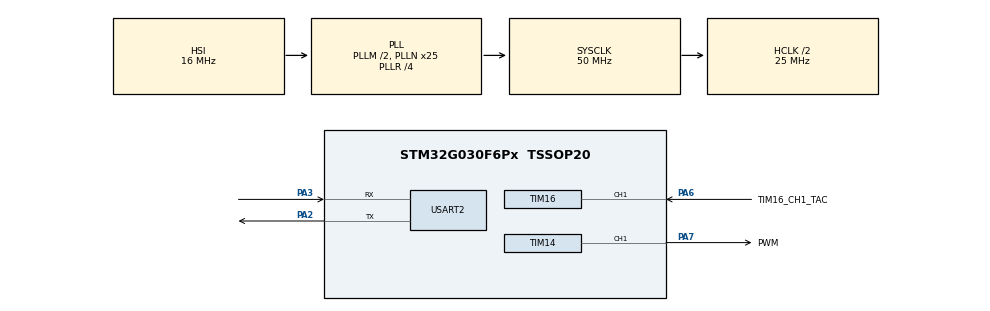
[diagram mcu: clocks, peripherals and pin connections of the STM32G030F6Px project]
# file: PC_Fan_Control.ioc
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Mcu.Family=STM32G0
Mcu.Name=STM32G030F6Px
Mcu.Package=TSSOP20
NVIC.TIM16_IRQn=true\:0\:0\:false\:false\:true\:true\:true\:true
NVIC.TIM3_IRQn=true\:0\:0\:false\:false\:true\:true\:true\:true
NVIC.USART2_IRQn=true\:0\:0\:false\:false\:true\:true\:true\:true
PA13.Mode=Serial_Wire
PA13.Signal=SYS_SWDIO
PA14-BOOT0.Mode=Serial_Wire
PA14-BOOT0.Signal=SYS_SWCLK
PA14-BOOT0__PA15.StandardMode=true
PA2.Mode=Asynchronous
PA2.Signal=USART2_TX
PA3.Mode=Asynchronous
PA3.Signal=USART2_RX
PA6.GPIO_Label=TIM16_CH1_TAC
PA6.GPIO_ModeDefaultPP=GPIO_MODE_AF_OD
PA6.Signal=S_TIM16_CH1
PA7.GPIO_Label=PWM
PA7.GPIO_ModeDefaultPP=GPIO_MODE_AF_OD
PA7.Signal=S_TIM14_CH1
PB0.GPIO_Label=Encoder
PB0.Signal=S_TIM3_CH3
PB0__PB1__PB2__PA8.StandardMode=true
PB3__PB4__PB5__PB6.StandardMode=true
PB5.GPIO_Label=Encoder
PB5.GPIO_ModeDefaultPP=GPIO_MODE_AF_PP
PB5.Signal=S_TIM3_CH2
PB7__PB8.StandardMode=true
PC14-OSC32_IN\ (PC14)__PB9.StandardMode=true
ProjectManager.HeapSize=0x200
ProjectManager.StackSize=0x400
ProjectManager.TargetToolchain=STM32CubeIDE
RCC.ADCFreq_Value=50000000
RCC.AHBCLKDivider=RCC_SYSCLK_DIV2
RCC.AHBFreq_Value=25000000
RCC.CortexFreq_Value=25000000
RCC.EXTERNAL_CLOCK_VALUE=12288000
RCC.HCLKFreq_Value=25000000
RCC.HSE_VALUE=8000000
RCC.HSI_VALUE=16000000
RCC.LSE_VALUE=32768
RCC.PLLM=RCC_PLLM_DIV2
RCC.PLLN=25
RCC.PLLR=RCC_PLLR_DIV4
RCC.SYSCLKFreq_VALUE=50000000
RCC.SYSCLKSource=RCC_SYSCLKSOURCE_PLLCLK
RCC.VCOOutputFreq_Value=200000000
SH.S_TIM14_CH1.0=TIM14_CH1,PWM Generation1 CH1
SH.S_TIM16_CH1.0=TIM16_CH1,Input_Capture1_from_TI1
SH.S_TIM3_CH2.0=TIM3_CH2
SH.S_TIM3_CH3.0=TIM3_CH3
TIM14.Channel=TIM_CHANNEL_1
TIM14.Period=1000
TIM14.Pulse=1000
TIM16.Channel=TIM_CHANNEL_1
TIM16.Prescaler=2500-1
TIM3.Period=2500
USART2.VirtualMode-Asynchronous=VM_ASYNC
VP_TIM14_VS_ClockSourceINT.Mode=Enable_Timer
VP_TIM16_VS_ClockSourceINT.Mode=Enable_Timer
VP_TIM3_VS_ClockSourceINT.Mode=Internal
board=custom

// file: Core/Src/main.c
/* USER CODE BEGIN Header */
/**
 ******************************************************************************
 * @file           : main.c
 * @brief          : Main program body
 ******************************************************************************
 * @attention
 *
 * Copyright (c) 2024 STMicroelectronics.
 * All rights reserved.
 *
 * This software is licensed under terms that can be found in the LICENSE file
 * in the root directory of this software component.
 * If no LICENSE file comes with this software, it is provided AS-IS.
 *
 ******************************************************************************
 */
/* USER CODE END Header */
#include "main.h"

/* USER CODE BEGIN Includes */
#include <stdbool.h>
#include <stdio.h>
#include <string.h>
/* USER CODE END Includes */

/* USER CODE BEGIN PM */

#define PWM_INCREMENT				(10)
#define PWM_MAX_DUTY_CYCLE			(1000)
#define PRINT_RPM_INTERVAL			(200)			// ms
#define MAX_DEBOUNCING_COUNTER		(10)			// 0.1 ms x 10 = 1 ms
#define MIN_DEBOUNCING_COUNTER		(0)

#define DEBOUNCING_SET_BIT_MASK		(0x200)
#define DEBOUNCING_MASK				(0x3FF)
#define DEBOUNCING_TOTAL			(10)
#define DEBOUNCING_THRESHOLD		(8)
/* USER CODE END PM */

TIM_HandleTypeDef htim3;
TIM_HandleTypeDef htim14;
TIM_HandleTypeDef htim16;

UART_HandleTypeDef huart2;

/* USER CODE BEGIN PV */

volatile GPIO_PinState pb0Old = GPIO_PIN_RESET;
volatile GPIO_PinState pb5Old = GPIO_PIN_RESET;

uint32_t pb0History = 0;
uint32_t pb5History = 0;

volatile int32_t dutyCycle = 1000;

volatile bool captured = false;
volatile uint32_t lastCaptureValue = 0;
volatile uint32_t captureValue = 0;

volatile int64_t timeStamp;
int64_t lastPrintTime = 0;

/* USER CODE END PV */

void SystemClock_Config(void);
static void MX_GPIO_Init(void);
static void MX_TIM3_Init(void);
static void MX_TIM14_Init(void);
static void MX_TIM16_Init(void);
static void MX_USART2_UART_Init(void);
/* USER CODE BEGIN PFP */

void UpdateSpeed(GPIO_PinState aLast, GPIO_PinState bLast, GPIO_PinState aNew, GPIO_PinState bNew);

/* USER CODE END PFP */

/* USER CODE BEGIN 0 */
int __io_putchar(int ch)
{
	HAL_UART_Transmit(&huart2, (uint8_t*) &ch, 1, 0xFFFF);
	return ch;
}

void HAL_TIM_IC_CaptureCallback(TIM_HandleTypeDef *htim)
{
	if (htim == &htim16)
	{
		lastCaptureValue = captureValue;
		captureValue = htim16.Instance->CCR1;
		captured = true;
	}
}

uint32_t UpdatePinHistory(uint32_t history, GPIO_PinState newState)
{
	history >>= 1;
	if(newState == GPIO_PIN_RESET)
	{
		history |= DEBOUNCING_SET_BIT_MASK;
	}
	else
	{
		history &= (~DEBOUNCING_SET_BIT_MASK);
	}

	history &= DEBOUNCING_MASK;

	return history;
}

GPIO_PinState CheckStateChange(GPIO_PinState currentState, uint32_t history)
{
	GPIO_PinState newState;

	if(currentState == GPIO_PIN_RESET)
	{
		if(__builtin_popcount(history) >= DEBOUNCING_THRESHOLD)
		{
			newState = GPIO_PIN_SET;
		}

	}
	else
	{
		if(__builtin_popcount(history) <= (DEBOUNCING_TOTAL - DEBOUNCING_THRESHOLD))
		{
			newState = GPIO_PIN_RESET;
		}
	}

	return newState;
}

void HAL_TIM_PeriodElapsedCallback(TIM_HandleTypeDef *htim)
{
	if (htim == &htim3)
	{
		GPIO_PinState pb0Current = HAL_GPIO_ReadPin(GPIOB, GPIO_PIN_0);
		GPIO_PinState pb5Current = HAL_GPIO_ReadPin(GPIOB, GPIO_PIN_5);

		pb0History = UpdatePinHistory(pb0History, pb0Current);
		pb5History = UpdatePinHistory(pb5History, pb5Current);

		GPIO_PinState pb0New = CheckStateChange(pb0Current, pb0History);
		GPIO_PinState pb5New = CheckStateChange(pb5Current, pb5History);;

		if(pb0Old != pb0New || pb5Old != pb5New)
		{
			UpdateSpeed(pb0Old, pb5Old, pb0New, pb5New);

			pb0Old = pb0New;
			pb5Old = pb5New;
		}
	}
}

void UpdateSpeed(GPIO_PinState aLast, GPIO_PinState bLast, GPIO_PinState aNew, GPIO_PinState bNew)
{
	int32_t direction = 0;

	if (aLast == GPIO_PIN_RESET) // 0
	{
		if (bLast == GPIO_PIN_RESET) // 0
		{
			if (aNew == GPIO_PIN_RESET) // 0
			{
				if (bNew == GPIO_PIN_RESET)
				{
				}
				else // 1
				{
					direction = -1; // 0 0 0 1
				}
			}
			else // 1
			{
				if (bNew == GPIO_PIN_RESET) // 0
				{
					direction = 1; // 0 0 1 0
				}
				else
				{
				}
			}
		}
		else // 1
		{
			if (aNew == GPIO_PIN_RESET) // 0
			{
				if (bNew == GPIO_PIN_RESET) // 0
				{
					direction = 1; // 0 1 0 0
				}
				else
				{
				}
			}
			else
			{
				if (bNew == GPIO_PIN_RESET)
				{
				}
				else
				{
					direction = -1; // 0 1 1 1
				}
			}
		}
	}
	else // 1
	{
		if (bLast == GPIO_PIN_RESET) // 0
		{
			if (aNew == GPIO_PIN_RESET) // 0
			{
				if (bNew == GPIO_PIN_RESET)
				{
					direction = -1; // 1 0 0 0
				}
				else
				{
				}
			}
			else // 1
			{
				if (bNew == GPIO_PIN_RESET) // 0
				{
				}
				else
				{
					direction = 1; // 1 0 1 1
				}
			}
		}
		else // 1
		{
			if (aNew == GPIO_PIN_RESET) // 0
			{
				if (bNew == GPIO_PIN_RESET) // 0
				{
				}
				else
				{
					direction = 1; // 1 1 0 1
				}
			}
			else
			{
				if (bNew == GPIO_PIN_RESET)
				{
					direction = -1; // 1 1 1 0
				}
				else
				{
				}
			}
		}
	}

	if (direction > 0)
	{
		dutyCycle += PWM_INCREMENT;
		if (dutyCycle > PWM_MAX_DUTY_CYCLE)
		{
			dutyCycle = PWM_MAX_DUTY_CYCLE;
		}

		htim14.Instance->CCR1 = dutyCycle;
	}
	else if (direction < 0)
	{
		dutyCycle -= PWM_INCREMENT;
		if (dutyCycle < 0)
		{
			dutyCycle = 0;
		}

		htim14.Instance->CCR1 = dutyCycle;
	}
}

/* USER CODE END 0 */

int main(void)
{

  /* MCU Configuration--------------------------------------------------------*/

  /* Reset of all peripherals, Initializes the Flash interface and the Systick. */
  HAL_Init();

  /* Configure the system clock */
  SystemClock_Config();

  /* Initialize all configured peripherals */
  MX_GPIO_Init();
  MX_TIM3_Init();
  MX_TIM14_Init();
  MX_TIM16_Init();
  MX_USART2_UART_Init();
  /* USER CODE BEGIN 2 */

	pb0Old = HAL_GPIO_ReadPin(GPIOB, GPIO_PIN_0);
	pb5Old = HAL_GPIO_ReadPin(GPIOB, GPIO_PIN_5);

	if(pb0Old == GPIO_PIN_SET)
	{
		pb0History = DEBOUNCING_MASK;
	}

	if(pb5Old == GPIO_PIN_SET)
	{
		pb5History = DEBOUNCING_MASK;
	}

	HAL_TIM_PWM_Start(&htim14, TIM_CHANNEL_1); // Fan PWM
	HAL_TIM_IC_Start_IT(&htim16, TIM_CHANNEL_1); // Tachometer PA6
	HAL_TIM_Base_Start_IT(&htim3); // Encoder PB0, PB5

  /* USER CODE END 2 */

  /* Infinite loop */
  /* USER CODE BEGIN WHILE */
	while (1)
	{
		if (captured)
		{
			captured = false;

			if (timeStamp - lastPrintTime > PRINT_RPM_INTERVAL)
			{
				lastPrintTime = timeStamp;

				int32_t diff = (int32_t)captureValue - (int32_t)lastCaptureValue;
				if (diff < 0)
				{
					diff += 65536;
				}

				int32_t rpm = (60 / 2 * 10000) / diff;

				printf("RPM: %ld, dutyCycle: %ld\r\n", rpm, dutyCycle);
			}
		}
    /* USER CODE END WHILE */

	}
}

void SystemClock_Config(void)
{
  RCC_OscInitTypeDef RCC_OscInitStruct = {0};
  RCC_ClkInitTypeDef RCC_ClkInitStruct = {0};

  /** Configure the main internal regulator output voltage
  */
  HAL_PWREx_ControlVoltageScaling(PWR_REGULATOR_VOLTAGE_SCALE1);

  /** Initializes the RCC Oscillators according to the specified parameters
  * in the RCC_OscInitTypeDef structure.
  */
  RCC_OscInitStruct.OscillatorType = RCC_OSCILLATORTYPE_HSI;
  RCC_OscInitStruct.HSIState = RCC_HSI_ON;
  RCC_OscInitStruct.HSIDiv = RCC_HSI_DIV1;
  RCC_OscInitStruct.HSICalibrationValue = RCC_HSICALIBRATION_DEFAULT;
  RCC_OscInitStruct.PLL.PLLState = RCC_PLL_ON;
  RCC_OscInitStruct.PLL.PLLSource = RCC_PLLSOURCE_HSI;
  RCC_OscInitStruct.PLL.PLLM = RCC_PLLM_DIV2;
  RCC_OscInitStruct.PLL.PLLN = 25;
  RCC_OscInitStruct.PLL.PLLP = RCC_PLLP_DIV2;
  RCC_OscInitStruct.PLL.PLLR = RCC_PLLR_DIV4;
  if (HAL_RCC_OscConfig(&RCC_OscInitStruct) != HAL_OK)
  {
    Error_Handler();
  }

  /** Initializes the CPU, AHB and APB buses clocks
  */
  RCC_ClkInitStruct.ClockType = RCC_CLOCKTYPE_HCLK|RCC_CLOCKTYPE_SYSCLK
                              |RCC_CLOCKTYPE_PCLK1;
  RCC_ClkInitStruct.SYSCLKSource = RCC_SYSCLKSOURCE_PLLCLK;
  RCC_ClkInitStruct.AHBCLKDivider = RCC_SYSCLK_DIV2;
  RCC_ClkInitStruct.APB1CLKDivider = RCC_HCLK_DIV1;

  if (HAL_RCC_ClockConfig(&RCC_ClkInitStruct, FLASH_LATENCY_1) != HAL_OK)
  {
    Error_Handler();
  }
}

static void MX_TIM3_Init(void)
{

  TIM_ClockConfigTypeDef sClockSourceConfig = {0};
  TIM_MasterConfigTypeDef sMasterConfig = {0};

  htim3.Instance = TIM3;
  htim3.Init.Prescaler = 0;
  htim3.Init.CounterMode = TIM_COUNTERMODE_UP;
  htim3.Init.Period = 2500;
  htim3.Init.ClockDivision = TIM_CLOCKDIVISION_DIV1;
  htim3.Init.AutoReloadPreload = TIM_AUTORELOAD_PRELOAD_DISABLE;
  if (HAL_TIM_Base_Init(&htim3) != HAL_OK)
  {
    Error_Handler();
  }
  sClockSourceConfig.ClockSource = TIM_CLOCKSOURCE_INTERNAL;
  if (HAL_TIM_ConfigClockSource(&htim3, &sClockSourceConfig) != HAL_OK)
  {
    Error_Handler();
  }
  sMasterConfig.MasterOutputTrigger = TIM_TRGO_RESET;
  sMasterConfig.MasterSlaveMode = TIM_MASTERSLAVEMODE_DISABLE;
  if (HAL_TIMEx_MasterConfigSynchronization(&htim3, &sMasterConfig) != HAL_OK)
  {
    Error_Handler();
  }

}

static void MX_TIM14_Init(void)
{

  TIM_OC_InitTypeDef sConfigOC = {0};

  htim14.Instance = TIM14;
  htim14.Init.Prescaler = 0;
  htim14.Init.CounterMode = TIM_COUNTERMODE_UP;
  htim14.Init.Period = 1000;
  htim14.Init.ClockDivision = TIM_CLOCKDIVISION_DIV1;
  htim14.Init.AutoReloadPreload = TIM_AUTORELOAD_PRELOAD_DISABLE;
  if (HAL_TIM_Base_Init(&htim14) != HAL_OK)
  {
    Error_Handler();
  }
  if (HAL_TIM_PWM_Init(&htim14) != HAL_OK)
  {
    Error_Handler();
  }
  sConfigOC.OCMode = TIM_OCMODE_PWM1;
  sConfigOC.Pulse = 1000;
  sConfigOC.OCPolarity = TIM_OCPOLARITY_HIGH;
  sConfigOC.OCFastMode = TIM_OCFAST_DISABLE;
  if (HAL_TIM_PWM_ConfigChannel(&htim14, &sConfigOC, TIM_CHANNEL_1) != HAL_OK)
  {
    Error_Handler();
  }
  HAL_TIM_MspPostInit(&htim14);

}

static void MX_TIM16_Init(void)
{

  TIM_IC_InitTypeDef sConfigIC = {0};

  htim16.Instance = TIM16;
  htim16.Init.Prescaler = 2500-1;
  htim16.Init.CounterMode = TIM_COUNTERMODE_UP;
  htim16.Init.Period = 65535;
  htim16.Init.ClockDivision = TIM_CLOCKDIVISION_DIV1;
  htim16.Init.RepetitionCounter = 0;
  htim16.Init.AutoReloadPreload = TIM_AUTORELOAD_PRELOAD_DISABLE;
  if (HAL_TIM_Base_Init(&htim16) != HAL_OK)
  {
    Error_Handler();
  }
  if (HAL_TIM_IC_Init(&htim16) != HAL_OK)
  {
    Error_Handler();
  }
  sConfigIC.ICPolarity = TIM_INPUTCHANNELPOLARITY_RISING;
  sConfigIC.ICSelection = TIM_ICSELECTION_DIRECTTI;
  sConfigIC.ICPrescaler = TIM_ICPSC_DIV1;
  sConfigIC.ICFilter = 0;
  if (HAL_TIM_IC_ConfigChannel(&htim16, &sConfigIC, TIM_CHANNEL_1) != HAL_OK)
  {
    Error_Handler();
  }

}

static void MX_USART2_UART_Init(void)
{

  huart2.Instance = USART2;
  huart2.Init.BaudRate = 115200;
  huart2.Init.WordLength = UART_WORDLENGTH_8B;
  huart2.Init.StopBits = UART_STOPBITS_1;
  huart2.Init.Parity = UART_PARITY_NONE;
  huart2.Init.Mode = UART_MODE_TX_RX;
  huart2.Init.HwFlowCtl = UART_HWCONTROL_NONE;
  huart2.Init.OverSampling = UART_OVERSAMPLING_16;
  huart2.Init.OneBitSampling = UART_ONE_BIT_SAMPLE_DISABLE;
  huart2.Init.ClockPrescaler = UART_PRESCALER_DIV1;
  huart2.AdvancedInit.AdvFeatureInit = UART_ADVFEATURE_NO_INIT;
  if (HAL_UART_Init(&huart2) != HAL_OK)
  {
    Error_Handler();
  }

}

static void MX_GPIO_Init(void)
{

  /* GPIO Ports Clock Enable */
  __HAL_RCC_GPIOA_CLK_ENABLE();
  __HAL_RCC_GPIOB_CLK_ENABLE();

}

void Error_Handler(void)
{
	__disable_irq();
	while (1)
	{
	}
}
